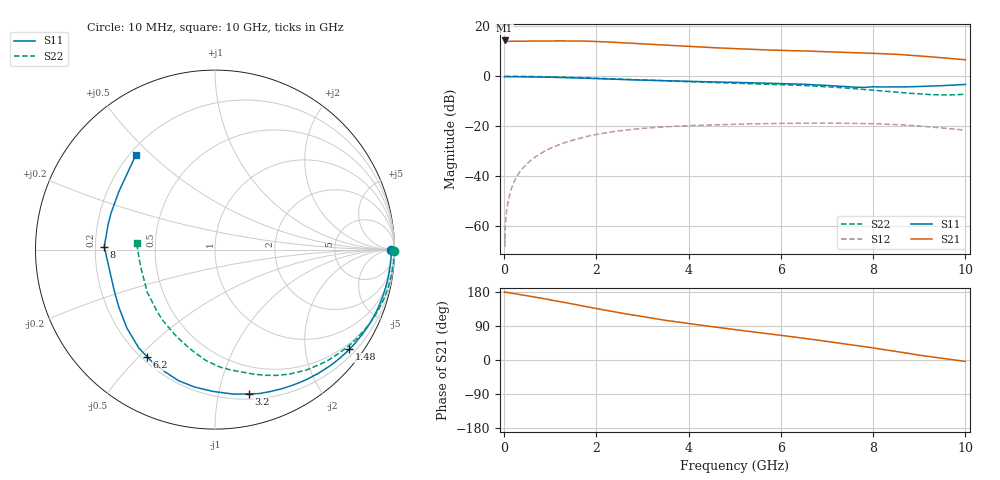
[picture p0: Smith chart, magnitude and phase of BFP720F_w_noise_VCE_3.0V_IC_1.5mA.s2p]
! Infineon Technologies  Discrete & RF Semiconductors
! BFP720F
! VCE =  3.0 V,  IC =  1.5 mA
! Common Emitter S-Parameters:  Jan 2016
# GHz  S  MA  R  50
!  f  S11  S21  S12  S22
! GHz  MAG  ANG  MAG  ANG  MAG  ANG  MAG  ANG
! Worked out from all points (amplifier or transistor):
!   233 points, 10 MHz to 10 GHz, reference 50 ohm
!   highest |S21| = 14.3 dB at 10 MHz (marker M1)
!   |S21| within 3 dB of that: start of sweep to 4.671 GHz
!   unconditionally stable (mu >= 1): nowhere
!   at 200 MHz: K = 0.02, MSG = 28.4 dB, |S12| = -42.9 dB
!   at 1.74 GHz: K = 0.13, MSG = 19.2 dB, |S12| = -24.3 dB
!   at 10 GHz: K = 0.98, MSG = 14.1 dB, |S12| = -21.6 dB
!   lowest NFmin = 0.44 dB at 450 MHz
!   S11 on the Smith chart (normalised r, x): 10 MHz: 98, -8; 1.48 GHz: 0.35, -2.99; 3.2 GHz: 0.24, -1.23; 6.2 GHz: 0.22, -0.53; 8 GHz: 0.24, +0.01; 10 GHz: 0.22, +0.45
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0.01  0.9799 -0.1  5.209 179.5  0.0006 -30.8  0.9981 -0.4
0.015  0.9811 -0.3  5.082 178.8  0.0004 42.3  0.999 -0.7
0.02  0.9824 -0.4  4.955 178.1  0.0008 88.1  1 -1.0
0.055  0.9814 -1.4  4.995 178.6  0.0021 87.3  0.9982 -1.1
0.12  0.9818 -2.8  5.01 177.3  0.0043 87.0  0.9987 -2.1
0.36  0.978 -8.5  5.041 172.4  0.013 83.7  0.9951 -6.4
0.92  0.9609 -22.3  5.116 160.5  0.0332 73.4  0.98 -16.4
1.48  0.9322 -36.6  5.07 147.9  0.0526 62.2  0.9504 -26.9
1.68  0.9191 -42.0  5.082 143.1  0.0591 58.1  0.9371 -30.7
2.38  0.8736 -59.1  4.795 127.3  0.0786 44.0  0.8865 -43.3
2.8  0.8489 -68.6  4.581 118.4  0.0871 36.1  0.8537 -50.0
3.2  0.8258 -76.7  4.36 110.7  0.0934 29.4  0.8272 -55.3
3.4  0.816 -80.5  4.265 106.7  0.0963 26.1  0.8142 -57.8
4  0.79 -90.9  3.971 96.0  0.103 17.3  0.7792 -64.1
5.1  0.7529 -106.8  3.548 78.7  0.1104 3.4  0.7224 -73.4
6.2  0.7068 -122.3  3.257 62.0  0.1147 -9.5  0.67 -83.8
6.8  0.6691 -133.9  3.143 52.4  0.1156 -16.8  0.6337 -91.6
7.4  0.6242 -149.2  3.012 42.2  0.1147 -24.3  0.5836 -101.3
8  0.6172 178.5  2.892 31.9  0.1128 -32.0  0.5303 -113.7
8.4  0.6119 166.4  2.783 24.4  0.1094 -37.7  0.492 -125.7
9  0.6251 149.2  2.565 12.7  0.1013 -46.0  0.4464 -147.5
10  0.6869 129.9  2.14 -3.8  0.0835 -56.3  0.438 175.5
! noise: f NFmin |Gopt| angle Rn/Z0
0.45  0.44  0.75  5  0.37
0.9  0.55  0.75  12  0.34
1.8  0.57  0.74  25  0.28
2.4  0.59  0.74  31  0.27
5.5  0.96  0.53  91  0.17
10  1.49  0.36  -141  0.14
